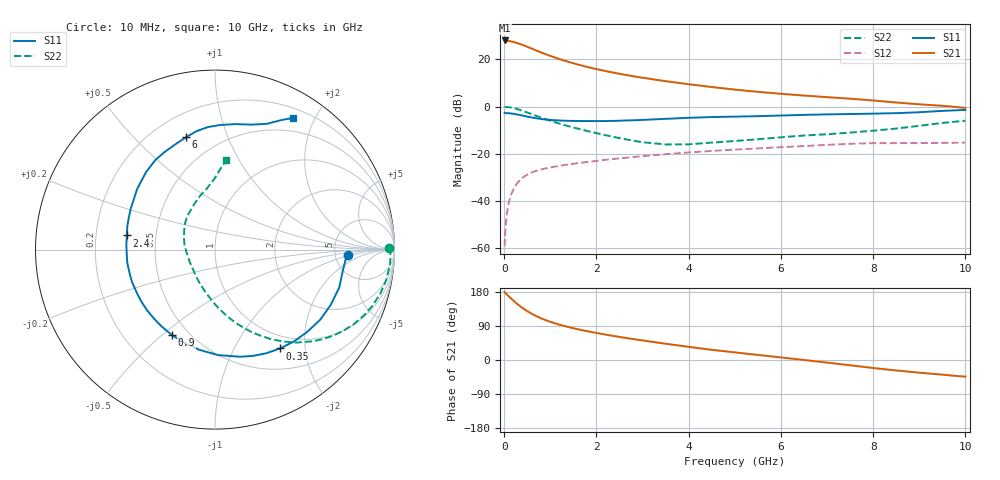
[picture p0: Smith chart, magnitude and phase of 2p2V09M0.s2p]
! (c) 2009  Infineon Technologies AG, Munich
! Infineon Technologies  Discrete & RF Semiconductors
! BFP420
! VCE =  2.0 V,  IC =  9.0 mA
! Common Emitter S-Parameters:  Nov 2009
# GHz  S  MA  R  50
!  f  S11  S21  S12  S22
! GHz  MAG  ANG  MAG  ANG  MAG  ANG  MAG  ANG
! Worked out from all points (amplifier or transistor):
!   46 points, 10 MHz to 10 GHz, reference 50 ohm
!   highest |S21| = 28.0 dB at 10 MHz (marker M1)
!   |S21| within 3 dB of that: start of sweep to 540.1 MHz
!   unconditionally stable (mu >= 1): 2.425 GHz to end of sweep
!   at 300 MHz: K = 0.17, MSG = 29.4 dB, |S12| = -32.1 dB
!   at 1.7 GHz: K = 0.79, MSG = 20.5 dB, |S12| = -23.7 dB
!   at 10 GHz: K = 1.09, MAG = 5.5 dB, |S12| = -15.3 dB
!   S11 on the Smith chart (normalised r, x): 10 MHz: 6.58, -0.86; 350 MHz: 0.80, -1.55; 900 MHz: 0.41, -0.54; 2.4 GHz: 0.34, +0.07; 6 GHz: 0.33, +0.72; 10 GHz: 0.32, +1.70
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0.01  0.7402 -2.3  25.22 179.1  0.0011 90.6  0.9719 0.6
0.02  0.7318 -3.5  24.66 177.6  0.0019 85.0  0.979 -1.8
0.1  0.7238 -17.1  24.48 168.1  0.0091 82.4  0.9691 -10.0
0.2  0.7041 -33.8  23.43 156.8  0.0175 74.6  0.9313 -19.7
0.25  0.6885 -41.7  22.65 151.3  0.0214 70.9  0.9057 -24.1
0.35  0.6592 -56.7  21.1 141.6  0.0281 64.7  0.8456 -32.4
0.45  0.629 -70.3  19.38 132.9  0.0337 59.4  0.7817 -39.6
0.6  0.588 -88.4  16.9 121.8  0.0402 53.3  0.6894 -48.7
0.7  0.5651 -98.9  15.41 115.6  0.0436 50.3  0.634 -53.8
0.9  0.5327 -116.7  12.9 105.2  0.049 46.0  0.5406 -62.3
1  0.5218 -124.5  11.88 100.8  0.0514 44.4  0.5013 -66.2
1.2  0.5077 -137.9  10.16 93.2  0.0556 42.1  0.4351 -72.9
1.4  0.4989 -149.3  8.831 86.8  0.0594 40.5  0.3827 -79.0
1.7  0.494 -163.5  7.341 78.5  0.0651 38.7  0.321 -87.4
2.4  0.4977 170.9  5.174 62.9  0.078 35.0  0.2247 -107.7
3.5  0.55 142.0  3.457 42.9  0.0978 28.6  0.1574 -151.4
4.5  0.5998 123.6  2.596 26.9  0.1149 21.5  0.1724 170.8
5.5  0.6267 110.7  2.055 13.4  0.1299 14.6  0.2033 147.5
6  0.6464 104.5  1.868 6.8  0.1376 11.1  0.2236 137.9
7  0.684 93.3  1.585 -6.9  0.1544 2.9  0.2589 121.2
8.5  0.7253 73.7  1.221 -27.7  0.1683 -12.7  0.3425 97.8
10  0.8508 59.5  0.941 -44.1  0.1721 -22.9  0.5021 82.8
